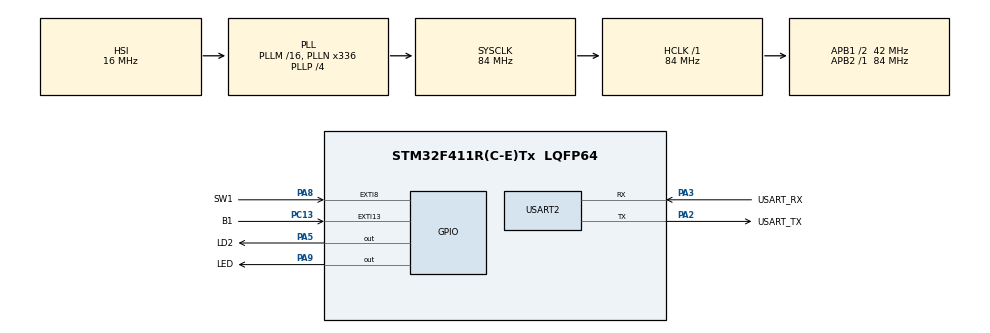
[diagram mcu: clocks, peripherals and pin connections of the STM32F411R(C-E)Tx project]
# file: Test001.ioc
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Mcu.Family=STM32F4
Mcu.Name=STM32F411R(C-E)Tx
Mcu.Package=LQFP64
NVIC.EXTI15_10_IRQn=true\:0\:0\:false\:false\:true\:true\:true\:true
NVIC.EXTI9_5_IRQn=true\:0\:0\:false\:false\:true\:true\:true\:true
NVIC.PriorityGroup=NVIC_PRIORITYGROUP_0
PA13.GPIO_Label=TMS
PA13.Mode=Serial_Wire
PA13.Signal=SYS_JTMS-SWDIO
PA14.GPIO_Label=TCK
PA14.Mode=Serial_Wire
PA14.Signal=SYS_JTCK-SWCLK
PA2.GPIO_Label=USART_TX
PA2.Mode=Asynchronous
PA2.Signal=USART2_TX
PA3.GPIO_Label=USART_RX
PA3.Mode=Asynchronous
PA3.Signal=USART2_RX
PA5.GPIO_Label=LD2
PA5.Signal=GPIO_Output
PA8.GPIO_Label=SW1
PA8.Signal=GPXTI8
PA9.GPIO_Label=LED
PA9.Signal=GPIO_Output
PB3.GPIO_Label=SWO
PB3.Signal=SYS_JTDO-SWO
PC13-ANTI_TAMP.GPIO_Label=B1
PC13-ANTI_TAMP.GPIO_ModeDefaultEXTI=GPIO_MODE_IT_FALLING
PC13-ANTI_TAMP.Signal=GPXTI13
PC14-OSC32_IN.Mode=LSE-External-Oscillator
PC14-OSC32_IN.Signal=RCC_OSC32_IN
PC15-OSC32_OUT.Mode=LSE-External-Oscillator
PC15-OSC32_OUT.Signal=RCC_OSC32_OUT
PH0\ -\ OSC_IN.Mode=HSE-External-Clock-Source
PH0\ -\ OSC_IN.Signal=RCC_OSC_IN
PH1\ -\ OSC_OUT.Mode=HSE-External-Clock-Source
PH1\ -\ OSC_OUT.Signal=RCC_OSC_OUT
ProjectManager.HeapSize=0x200
ProjectManager.StackSize=0x400
ProjectManager.TargetToolchain=STM32CubeIDE
RCC.48MHZClocksFreq_Value=84000000
RCC.AHBFreq_Value=84000000
RCC.APB1CLKDivider=RCC_HCLK_DIV2
RCC.APB1Freq_Value=42000000
RCC.APB1TimFreq_Value=84000000
RCC.APB2Freq_Value=84000000
RCC.APB2TimFreq_Value=84000000
RCC.CortexFreq_Value=84000000
RCC.FLatency-AdvancedSettings=FLASH_LATENCY_2
RCC.HCLKFreq_Value=84000000
RCC.HSE_VALUE=8000000
RCC.HSI_VALUE=16000000
RCC.PLLN=336
RCC.PLLP=RCC_PLLP_DIV4
RCC.SYSCLKFreq_VALUE=84000000
RCC.SYSCLKSource=RCC_SYSCLKSOURCE_PLLCLK
RCC.VCOOutputFreq_Value=336000000
USART2.VirtualMode=VM_ASYNC
board=NUCLEO-F411RE

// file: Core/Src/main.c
/* USER CODE BEGIN Header */
/**
  ******************************************************************************
  * @file           : main.c
  * @brief          : Main program body
  ******************************************************************************
  * @attention
  *
  * Copyright (c) 2024 STMicroelectronics.
  * All rights reserved.
  *
  * This software is licensed under terms that can be found in the LICENSE file
  * in the root directory of this software component.
  * If no LICENSE file comes with this software, it is provided AS-IS.
  *
  ******************************************************************************
  */
/* USER CODE END Header */
#include "main.h"

/* USER CODE BEGIN Includes */
#include <stdio.h>

/* USER CODE END Includes */

UART_HandleTypeDef huart2;

void SystemClock_Config(void);
static void MX_GPIO_Init(void);
static void MX_USART2_UART_Init(void);

/* USER CODE BEGIN 0 */
void Standby()
{
	while ( HAL_GPIO_ReadPin(B1_GPIO_Port, B1_Pin) );
	// BTN B1 : OFF = 'H', ON = 'L'
}

int mode = 0; // mode = 0 : Stop & mode = 1 : Flash
int delay = 500;
// External Interrupt ISR (Interrupt Service Routine)
void HAL_GPIO_EXTI_Callback(uint16_t SW)
{
	switch (SW)
	{
		case B1_Pin: // LED Start & Stop
		{
			mode = ~mode;
			break;
		}
		case SW1_Pin: // Control Interval
		{
			delay = (delay > 1000) ? 100 : delay + 100;
			break;
		}
	}
}

/* USER CODE END 0 */

int main(void)
{

  /* MCU Configuration--------------------------------------------------------*/

  /* Reset of all peripherals, Initializes the Flash interface and the Systick. */
  HAL_Init();

  /* Configure the system clock */
  SystemClock_Config();

  /* Initialize all configured peripherals */
  MX_GPIO_Init();
  MX_USART2_UART_Init();
  /* USER CODE BEGIN 2 */
  // Standby();

  /* USER CODE END 2 */

  /* Infinite loop */
  while (1)
  {

    /* USER CODE BEGIN 3 */
	  if (mode)
	  {
		  HAL_GPIO_WritePin(LED_GPIO_Port, LED_Pin, 1); // HAL_GPIO_WritePin(Pin Group, Pin#, Pin State(H/L));
		  // HAL_GPIO_WritePin(GPIOA, GPIO_PIN_5, 1) // LD2 = PA5
		  // In "main.h"
		  // #define LD2_Pin GPIO_PIN_5
		  // #define LD2_GPIO_Port GPIOA

		  HAL_Delay (delay); // Delay in ms scale
		  HAL_GPIO_WritePin(LED_GPIO_Port, LED_Pin, 0);
		  HAL_Delay (delay); // Delay in ms scale
	  }
	  /*
	  else
	  {
		  HAL_GPIO_WritePin(LED_GPIO_Port, LED_Pin, 1); // HAL_GPIO_WritePin(Pin Group, Pin#, Pin State(H/L));
		  HAL_Delay (delay); //
		  HAL_GPIO_WritePin(LED_GPIO_Port, LED_Pin, 0);
		  HAL_Delay (delay); //
	  }
	  */
  }
  /* USER CODE END 3 */
}

void SystemClock_Config(void)
{
  RCC_OscInitTypeDef RCC_OscInitStruct = {0};
  RCC_ClkInitTypeDef RCC_ClkInitStruct = {0};

  /** Configure the main internal regulator output voltage
  */
  __HAL_RCC_PWR_CLK_ENABLE();
  __HAL_PWR_VOLTAGESCALING_CONFIG(PWR_REGULATOR_VOLTAGE_SCALE1);

  /** Initializes the RCC Oscillators according to the specified parameters
  * in the RCC_OscInitTypeDef structure.
  */
  RCC_OscInitStruct.OscillatorType = RCC_OSCILLATORTYPE_HSI;
  RCC_OscInitStruct.HSIState = RCC_HSI_ON;
  RCC_OscInitStruct.HSICalibrationValue = RCC_HSICALIBRATION_DEFAULT;
  RCC_OscInitStruct.PLL.PLLState = RCC_PLL_ON;
  RCC_OscInitStruct.PLL.PLLSource = RCC_PLLSOURCE_HSI;
  RCC_OscInitStruct.PLL.PLLM = 16;
  RCC_OscInitStruct.PLL.PLLN = 336;
  RCC_OscInitStruct.PLL.PLLP = RCC_PLLP_DIV4;
  RCC_OscInitStruct.PLL.PLLQ = 4;
  if (HAL_RCC_OscConfig(&RCC_OscInitStruct) != HAL_OK)
  {
    Error_Handler();
  }

  /** Initializes the CPU, AHB and APB buses clocks
  */
  RCC_ClkInitStruct.ClockType = RCC_CLOCKTYPE_HCLK|RCC_CLOCKTYPE_SYSCLK
                              |RCC_CLOCKTYPE_PCLK1|RCC_CLOCKTYPE_PCLK2;
  RCC_ClkInitStruct.SYSCLKSource = RCC_SYSCLKSOURCE_PLLCLK;
  RCC_ClkInitStruct.AHBCLKDivider = RCC_SYSCLK_DIV1;
  RCC_ClkInitStruct.APB1CLKDivider = RCC_HCLK_DIV2;
  RCC_ClkInitStruct.APB2CLKDivider = RCC_HCLK_DIV1;

  if (HAL_RCC_ClockConfig(&RCC_ClkInitStruct, FLASH_LATENCY_2) != HAL_OK)
  {
    Error_Handler();
  }
}

static void MX_USART2_UART_Init(void)
{

  huart2.Instance = USART2;
  huart2.Init.BaudRate = 115200;
  huart2.Init.WordLength = UART_WORDLENGTH_8B;
  huart2.Init.StopBits = UART_STOPBITS_1;
  huart2.Init.Parity = UART_PARITY_NONE;
  huart2.Init.Mode = UART_MODE_TX_RX;
  huart2.Init.HwFlowCtl = UART_HWCONTROL_NONE;
  huart2.Init.OverSampling = UART_OVERSAMPLING_16;
  if (HAL_UART_Init(&huart2) != HAL_OK)
  {
    Error_Handler();
  }

}

static void MX_GPIO_Init(void)
{
  GPIO_InitTypeDef GPIO_InitStruct = {0};

  /* GPIO Ports Clock Enable */
  __HAL_RCC_GPIOC_CLK_ENABLE();
  __HAL_RCC_GPIOH_CLK_ENABLE();
  __HAL_RCC_GPIOA_CLK_ENABLE();
  __HAL_RCC_GPIOB_CLK_ENABLE();

  /*Configure GPIO pin Output Level */
  HAL_GPIO_WritePin(GPIOA, LD2_Pin|LED_Pin, GPIO_PIN_RESET);

  /*Configure GPIO pin : B1_Pin */
  GPIO_InitStruct.Pin = B1_Pin;
  GPIO_InitStruct.Mode = GPIO_MODE_IT_FALLING;
  GPIO_InitStruct.Pull = GPIO_NOPULL;
  HAL_GPIO_Init(B1_GPIO_Port, &GPIO_InitStruct);

  /*Configure GPIO pins : LD2_Pin LED_Pin */
  GPIO_InitStruct.Pin = LD2_Pin|LED_Pin;
  GPIO_InitStruct.Mode = GPIO_MODE_OUTPUT_PP;
  GPIO_InitStruct.Pull = GPIO_NOPULL;
  GPIO_InitStruct.Speed = GPIO_SPEED_FREQ_LOW;
  HAL_GPIO_Init(GPIOA, &GPIO_InitStruct);

  /*Configure GPIO pin : SW1_Pin */
  GPIO_InitStruct.Pin = SW1_Pin;
  GPIO_InitStruct.Mode = GPIO_MODE_IT_RISING;
  GPIO_InitStruct.Pull = GPIO_NOPULL;
  HAL_GPIO_Init(SW1_GPIO_Port, &GPIO_InitStruct);

  /* EXTI interrupt init*/
  HAL_NVIC_SetPriority(EXTI9_5_IRQn, 0, 0);
  HAL_NVIC_EnableIRQ(EXTI9_5_IRQn);

  HAL_NVIC_SetPriority(EXTI15_10_IRQn, 0, 0);
  HAL_NVIC_EnableIRQ(EXTI15_10_IRQn);

}

void Error_Handler(void)
{
  __disable_irq();
  while (1)
  {
  }
}
